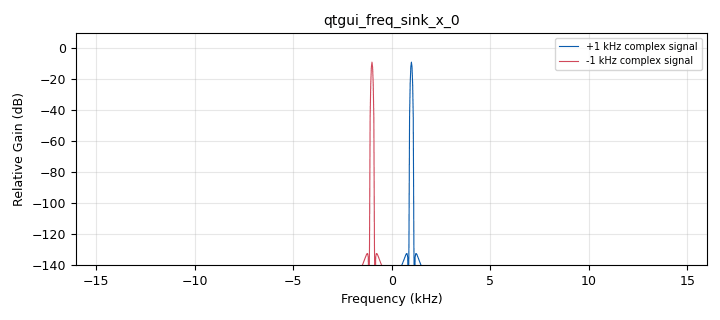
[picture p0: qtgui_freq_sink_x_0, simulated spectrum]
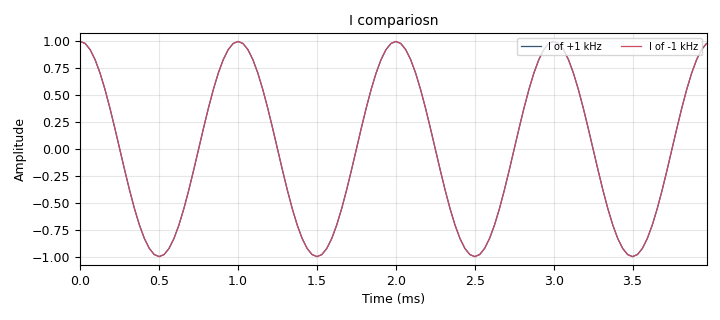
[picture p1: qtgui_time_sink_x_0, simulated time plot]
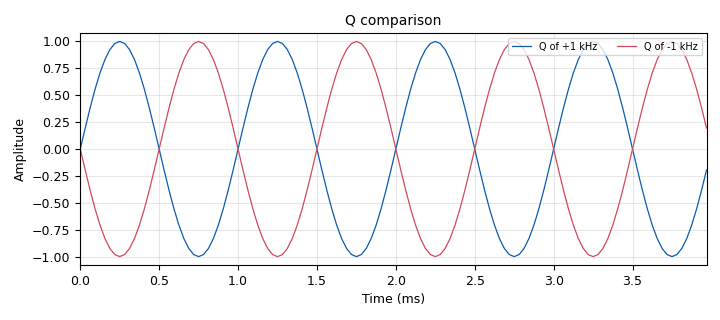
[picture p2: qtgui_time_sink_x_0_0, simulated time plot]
options:
  parameters:
    author: Dhrubjun
    generate_options: qt_gui
    id: complexcomponents
    output_language: python
    title: I Q Signal
  states: {}

blocks:
- name: samp_rate
  id: variable
  parameters:
    value: '32000'
  states: {}
- name: analog_sig_source_x_0
  id: analog_sig_source_x
  parameters:
    amp: '1'
    freq: '1000'
    offset: '0'
    phase: '0'
    samp_rate: samp_rate
    type: complex
    waveform: analog.GR_COS_WAVE
  states: {}
- name: analog_sig_source_x_0_0
  id: analog_sig_source_x
  parameters:
    amp: '1'
    freq: '-1000'
    offset: '0'
    phase: '0'
    samp_rate: samp_rate
    type: complex
    waveform: analog.GR_COS_WAVE
  states: {}
- name: blocks_complex_to_imag_0
  id: blocks_complex_to_imag
  parameters: {}
  states: {}
- name: blocks_complex_to_imag_0_0
  id: blocks_complex_to_imag
  parameters: {}
  states: {}
- name: blocks_complex_to_real_0
  id: blocks_complex_to_real
  parameters: {}
  states: {}
- name: blocks_complex_to_real_0_0
  id: blocks_complex_to_real
  parameters: {}
  states: {}
- name: qtgui_freq_sink_x_0
  id: qtgui_freq_sink_x
  parameters:
    bw: samp_rate
    fc: '0'
    fftsize: '1024'
    gui_hint: 2,0,1,1
    label1: +1 kHz complex signal
    label2: '-1 kHz complex signal'
    nconnections: '2'
    type: complex
  states: {}
- name: qtgui_time_sink_x_0
  id: qtgui_time_sink_x
  parameters:
    gui_hint: 0,0,1,1
    label1: I of +1 kHz
    label2: I of -1 kHz
    name: I compariosn
    nconnections: '2'
    size: '128'
    srate: samp_rate
    type: float
  states: {}
- name: qtgui_time_sink_x_0_0
  id: qtgui_time_sink_x
  parameters:
    gui_hint: 1,0,1,1
    label1: Q of +1 kHz
    label2: Q of -1 kHz
    name: Q comparison
    nconnections: '2'
    size: '128'
    srate: samp_rate
    type: float
  states: {}

connections:
- [analog_sig_source_x_0, '0', blocks_complex_to_imag_0, '0']
- [analog_sig_source_x_0, '0', blocks_complex_to_real_0, '0']
- [analog_sig_source_x_0, '0', qtgui_freq_sink_x_0, '0']
- [analog_sig_source_x_0_0, '0', blocks_complex_to_imag_0_0, '0']
- [analog_sig_source_x_0_0, '0', blocks_complex_to_real_0_0, '0']
- [analog_sig_source_x_0_0, '0', qtgui_freq_sink_x_0, '1']
- [blocks_complex_to_imag_0, '0', qtgui_time_sink_x_0_0, '0']
- [blocks_complex_to_imag_0_0, '0', qtgui_time_sink_x_0_0, '1']
- [blocks_complex_to_real_0, '0', qtgui_time_sink_x_0, '0']
- [blocks_complex_to_real_0_0, '0', qtgui_time_sink_x_0, '1']

metadata:
  file_format: 1
  grc_version: 3.10.12.0
